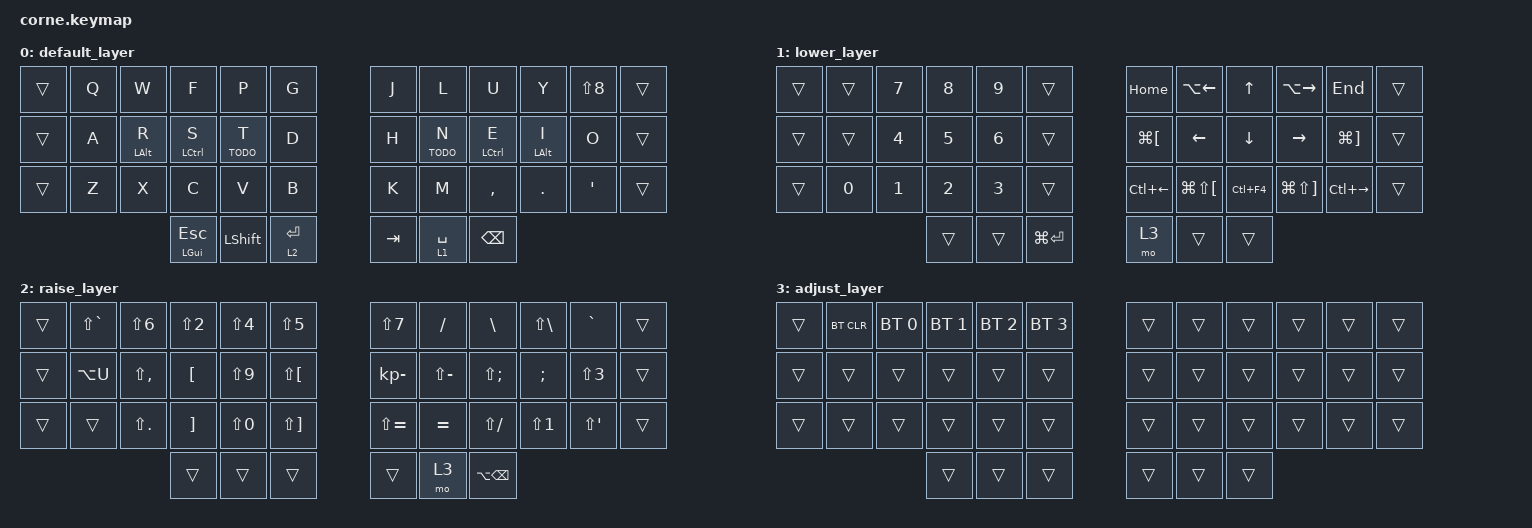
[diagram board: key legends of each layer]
// This file is automatically generated from README.md
#include <behaviors.dtsi>
#include <dt-bindings/zmk/keys.h>
#include <dt-bindings/zmk/bt.h>

/ {
    behaviors {
        // Customized mod_tap and layer_tap:
        // - Enables quick_tap. Useful for backspace/space.
        // - Switch to balanced flavor to allow for fast (back)space + character rollovers.
        mt_: custom_mod_tap {
            compatible = "zmk,behavior-hold-tap";
            label = "MOD_TAP";
            #binding-cells = <2>;
            flavor = "balanced";
            tapping-term-ms = <200>;
                        quick_tap_ms = <500>;
            bindings = <&kp>, <&kp>;
        };
        lt_: custom_layer_tap {
            compatible = "zmk,behavior-hold-tap";
            label = "LAYER_TAP";
            #binding-cells = <2>;
            flavor = "balanced";
            tapping-term-ms = <200>;
                        quick_tap_ms = <500>;
            bindings = <&mo>, <&kp>;
        };
    };

        keymap {
                compatible = "zmk,keymap";

                default_layer {
                        bindings = <
&trans &kp Q &kp W &kp F &kp P &kp G &kp J &kp L &kp U &kp Y &kp LS(N8) &trans
&trans &kp A &mt_ LALT R &mt_ LCTRL S &mt_ TODO T &kp D &kp H &mt_ TODO N &mt_ LCTRL E &mt_ LALT I &kp O &trans
&trans &kp Z &kp X &kp C &kp V &kp B &kp K &kp M &kp COMMA &kp DOT &kp SQT &trans
&mt_ LGUI ESC &kp LSHFT &lt_ 2 RET &kp TAB &lt_ 1 SPC &kp BKSP                  
                        >;
                };

                lower_layer {
                        bindings = <
&trans &trans &kp N7 &kp N8 &kp N9 &trans &kp HOME &kp LA(LEFT) &kp UP &kp LA(RIGHT) &kp END &trans
&trans &trans &kp N4 &kp N5 &kp N6 &trans &kp LG(LBKT) &kp LEFT &kp DOWN &kp RIGHT &kp LG(RBKT) &trans
&trans &kp N0 &kp N1 &kp N2 &kp N3 &trans &kp LC(LEFT) &kp LG(LS(LBKT)) &kp LC(F4) &kp LG(LS(RBKT)) &kp LC(RIGHT) &trans
&trans &trans &kp LG(RET) &mo 3 &trans &trans
                        >;
                };

                raise_layer {
                        bindings = <
&trans &kp LS(GRAVE) &kp LS(N6) &kp LS(N2) &kp LS(N4) &kp LS(N5) &kp LS(N7) &kp FSLH &kp BSLH &kp LS(BSLH) &kp GRAVE &trans
&trans &kp LA(U) &kp LS(COMMA) &kp LBKT &kp LS(N9) &kp LS(LBKT) &kp KP_MINUS &kp LS(MINUS) &kp LS(SEMI) &kp SEMI &kp LS(N3) &trans
&trans &trans &kp LS(DOT) &kp RBKT &kp LS(N0) &kp LS(RBKT) &kp LS(EQUAL) &kp EQUAL &kp LS(FSLH) &kp LS(N1) &kp LS(SQT) &trans
&trans &trans &trans &trans &mo 3 &kp LA(BKSP)
                        >;
                };
                
                adjust_layer {
                      bindings = <
&trans &bt BT_CLR &bt BT_SEL 0 &bt BT_SEL 1 &bt BT_SEL 2 &bt BT_SEL 3 &trans &trans &trans &trans &trans &trans
&trans &trans &trans &trans &trans &trans &trans &trans &trans &trans &trans &trans
&trans &trans &trans &trans &trans &trans &trans &trans &trans &trans &trans &trans
&trans &trans &trans &trans &trans &trans
                     >;
              };
        };
};

